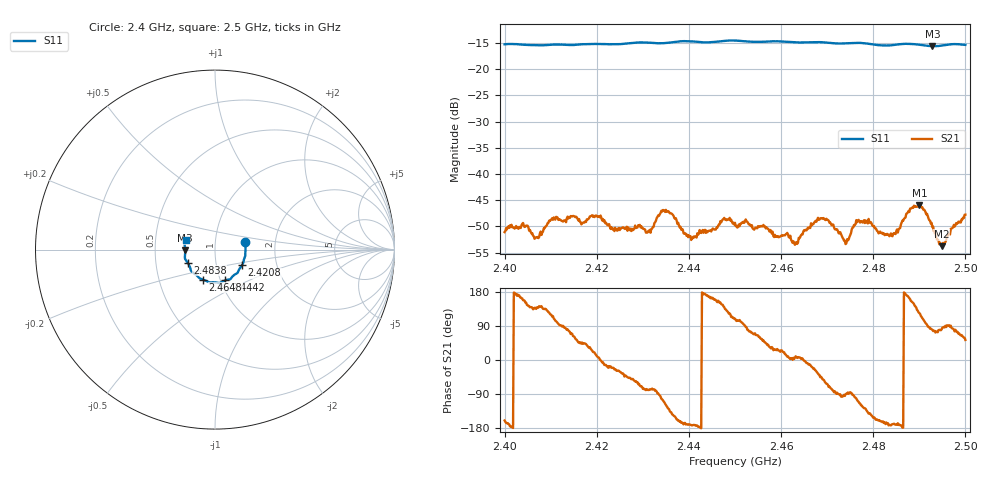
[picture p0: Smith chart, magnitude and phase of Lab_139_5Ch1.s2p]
# Hz S RI R 50
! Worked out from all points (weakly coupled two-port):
!   601 points, 2.4 GHz to 2.5 GHz, reference 50 ohm
!   highest |S21| = -46.00 dB at 2.49 GHz (marker M1); lowest = -53.8 dB at 2.4948 GHz (marker M2)
!   lowest |S11| = -15.6 dB at 2.4928 GHz (marker M3), VSWR 1.40, Z = 35.8 - j0.361 ohm
!   |S11| at or under -10 dB: start of sweep to end of sweep
!   S12 and S22 are empty: the file has one direction only
!   S11 on the Smith chart (normalised r, x): 2.4 GHz: 1.40, +0.12; 2.4208 GHz: 1.33, -0.24; 2.4442 GHz: 1.05, -0.37; 2.4648 GHz: 0.83, -0.29; 2.4838 GHz: 0.73, -0.11; 2.5 GHz: 0.72, +0.08
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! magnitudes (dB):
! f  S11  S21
! 2.4 GHz  -15.2  -51.1
! 2.407 GHz  -15.4  -52.1
! 2.4167 GHz  -15.2  -49.6
! 2.4208 GHz  -15.2  -47.9
! 2.4312 GHz  -14.9  -50.9
! 2.4333 GHz  -15.0  -47.9
! 2.436 GHz  -14.9  -47.5
! 2.4403 GHz  -14.7  -51.9
! 2.4442 GHz  -14.9  -50.9
! 2.45 GHz  -14.5  -49.3
! 2.463 GHz  -14.9  -53.5
! 2.4648 GHz  -14.9  -51.0
! 2.4667 GHz  -14.8  -49.8
! 2.4697 GHz  -14.9  -48.8
! 2.474 GHz  -15.1  -53.4
! 2.4768 GHz  -15.0  -48.7
! 2.4833 GHz  -15.5  -51.6
! 2.4838 GHz  -15.4  -51.3
! 2.49 GHz  -15.3  -46.0
! 2.4928 GHz  -15.6  -50.2
! 2.4948 GHz  -15.5  -53.8
! 2.5 GHz  -15.3  -47.7
